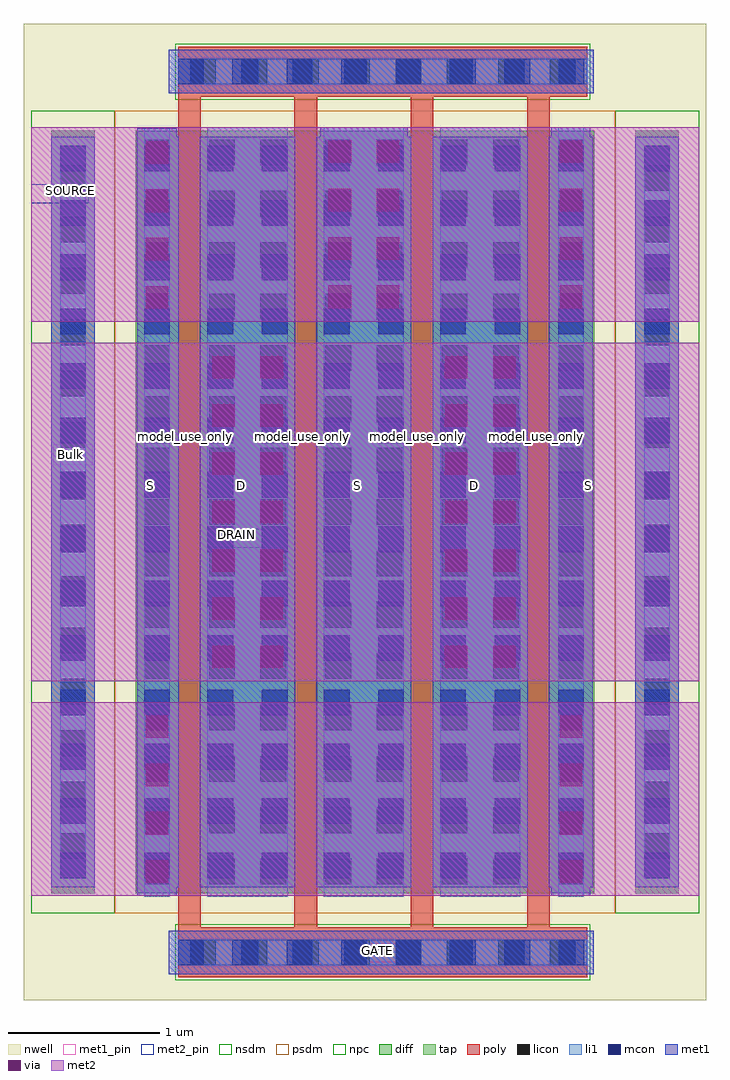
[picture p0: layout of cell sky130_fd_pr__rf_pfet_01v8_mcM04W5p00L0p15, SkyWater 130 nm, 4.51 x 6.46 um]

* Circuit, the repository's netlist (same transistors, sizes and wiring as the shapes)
* Copyright 2020 The SkyWater PDK Authors
*
* Licensed under the Apache License, Version 2.0 (the "License");
* you may not use this file except in compliance with the License.
* You may obtain a copy of the License at
*
*     https://www.apache.org/licenses/LICENSE-2.0
*
* Unless required by applicable law or agreed to in writing, software
* distributed under the License is distributed on an "AS IS" BASIS,
* WITHOUT WARRANTIES OR CONDITIONS OF ANY KIND, either express or implied.
* See the License for the specific language governing permissions and
* limitations under the License.
*
* SPDX-License-Identifier: Apache-2.0


.subckt sky130_fd_pr__rf_pfet_01v8_mcM04W5p00L0p15 DRAIN GATE SOURCE Bulk
X0 SOURCE GATE DRAIN w_n10_0# sky130_fd_pr__pfet_01v8 w=5.05e+06u l=150000u
X1 DRAIN GATE SOURCE w_n10_0# sky130_fd_pr__pfet_01v8 w=5.05e+06u l=150000u
X2 DRAIN GATE SOURCE w_n10_0# sky130_fd_pr__pfet_01v8 w=5.05e+06u l=150000u
X3 SOURCE GATE DRAIN w_n10_0# sky130_fd_pr__pfet_01v8 w=5.05e+06u l=150000u
.ends

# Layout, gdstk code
import gdstk
lib = gdstk.Library(unit=1e-6, precision=1e-09)
def R(c, l, rs):  # rectangles x0, y0, x1, y1
    for r in rs: c.add(gdstk.rectangle(r[:2], r[2:], *l))
def A(c, l, x, y, w, h, nx, ny, dx, dy):  # array of equal rectangles
    R(c, l, [(x+i*dx, y+j*dy, x+i*dx+w, y+j*dy+h) for i in range(nx) for j in range(ny)])
nwell = (64, 20)
diff = (65, 20)
tap = (65, 44)
poly = (66, 20)
licon = (66, 44)
li1 = (67, 20)
mcon = (67, 44)
met1_pin = (68, 16)
met1 = (68, 20)
via = (68, 44)
met2_pin = (69, 16)
met2 = (69, 20)
nsdm = (93, 44)
psdm = (94, 20)
npc = (95, 20)

sky130_fd_pr__rf_pfet_01 = lib.new_cell('sky130_fd_pr__rf_pfet_01v8_mcM04W5p00L0p15')
R(sky130_fd_pr__rf_pfet_01, nwell, [(-0.05,0,4.465,6.46)])
R(sky130_fd_pr__rf_pfet_01, diff, [(0.69,0.705,3.725,5.755)])
R(sky130_fd_pr__rf_pfet_01, tap, [(0.13,0.705,0.42,5.755), (3.995,0.705,4.285,5.755)])
A(sky130_fd_pr__rf_pfet_01, poly, 0.97, 0.48, 0.15, 5.5, 4, 1, 0.77, 0)
R(sky130_fd_pr__rf_pfet_01, poly, [(0.97,0.15,3.68,0.48), (0.97,5.98,3.68,6.31)])
A(sky130_fd_pr__rf_pfet_01, licon, 1.05, 0.23, 0.17, 0.17, 8, 2, 0.34, 5.83)
A(sky130_fd_pr__rf_pfet_01, licon, 0.745, 0.765, 0.17, 0.17, 1, 15, 0, 0.34)
A(sky130_fd_pr__rf_pfet_01, licon, 1.175, 0.765, 0.17, 0.17, 1, 15, 0, 0.34)
A(sky130_fd_pr__rf_pfet_01, licon, 1.515, 0.765, 0.17, 0.17, 1, 15, 0, 0.34)
A(sky130_fd_pr__rf_pfet_01, licon, 1.945, 0.765, 0.17, 0.17, 1, 15, 0, 0.34)
A(sky130_fd_pr__rf_pfet_01, licon, 2.285, 0.765, 0.17, 0.17, 1, 15, 0, 0.34)
A(sky130_fd_pr__rf_pfet_01, licon, 2.715, 0.765, 0.17, 0.17, 1, 15, 0, 0.34)
A(sky130_fd_pr__rf_pfet_01, licon, 3.055, 0.765, 0.17, 0.17, 1, 15, 0, 0.34)
A(sky130_fd_pr__rf_pfet_01, licon, 3.485, 0.765, 0.17, 0.17, 1, 15, 0, 0.34)
A(sky130_fd_pr__rf_pfet_01, licon, 0.19, 0.935, 0.17, 0.17, 1, 14, 0, 0.34)
A(sky130_fd_pr__rf_pfet_01, licon, 4.055, 0.935, 0.17, 0.17, 1, 14, 0, 0.34)
A(sky130_fd_pr__rf_pfet_01, li1, 1.165, 0.685, 0.53, 5.09, 3, 1, 0.77, 0)
R(sky130_fd_pr__rf_pfet_01, li1, [(0.97,0.23,3.68,0.4), (0.97,0.23,3.66,0.4), (0.745,0.685,0.915,5.775), (3.485,0.685,3.655,5.775), (0.19,0.805,0.36,5.655), (4.055,0.805,4.225,5.655), (0.19,0.855,0.36,5.605), (4.055,0.855,4.225,5.605), (0.19,1.875,0.36,4.585), (4.055,1.875,4.225,4.585), (0.97,6.06,3.68,6.23), (0.97,6.06,3.66,6.23)])
A(sky130_fd_pr__rf_pfet_01, mcon, 0.97, 0.23, 0.17, 0.17, 8, 2, 0.36, 5.83)
A(sky130_fd_pr__rf_pfet_01, mcon, 0.19, 0.805, 0.17, 0.17, 1, 14, 0, 0.36)
A(sky130_fd_pr__rf_pfet_01, mcon, 0.745, 0.805, 0.17, 0.17, 1, 14, 0, 0.36)
A(sky130_fd_pr__rf_pfet_01, mcon, 1.165, 0.805, 0.17, 0.17, 1, 14, 0, 0.36)
A(sky130_fd_pr__rf_pfet_01, mcon, 1.525, 0.805, 0.17, 0.17, 1, 14, 0, 0.36)
A(sky130_fd_pr__rf_pfet_01, mcon, 1.935, 0.805, 0.17, 0.17, 1, 14, 0, 0.36)
A(sky130_fd_pr__rf_pfet_01, mcon, 2.295, 0.805, 0.17, 0.17, 1, 14, 0, 0.36)
A(sky130_fd_pr__rf_pfet_01, mcon, 2.705, 0.805, 0.17, 0.17, 1, 14, 0, 0.36)
A(sky130_fd_pr__rf_pfet_01, mcon, 3.065, 0.805, 0.17, 0.17, 1, 14, 0, 0.36)
A(sky130_fd_pr__rf_pfet_01, mcon, 3.485, 0.805, 0.17, 0.17, 1, 14, 0, 0.36)
A(sky130_fd_pr__rf_pfet_01, mcon, 4.055, 0.805, 0.17, 0.17, 1, 14, 0, 0.36)
R(sky130_fd_pr__rf_pfet_01, met1_pin, [(2.07,0.25,2.5,0.375), (0.145,3.54,0.405,3.68)])
A(sky130_fd_pr__rf_pfet_01, met1, 1.115, 0.745, 0.63, 4.97, 3, 1, 0.77, 0)
R(sky130_fd_pr__rf_pfet_01, met1, [(0.91,0.17,3.72,0.46), (1.63,0.18,2.87,0.45), (0.7,0.69,0.96,1.97), (3.44,0.69,3.7,1.97), (0.13,0.745,0.42,5.715), (0.7,0.745,0.975,5.715), (3.425,0.745,3.715,5.715), (3.995,0.745,4.285,5.715), (1.14,2.11,1.72,4.35), (2.68,2.11,3.26,4.35), (0.7,4.49,0.96,5.77), (1.91,4.495,2.49,5.775), (3.44,4.495,3.7,5.775), (0.91,6,3.72,6.29)])
A(sky130_fd_pr__rf_pfet_01, via, 0.755, 0.775, 0.15, 0.15, 1, 4, 0, 0.32)
A(sky130_fd_pr__rf_pfet_01, via, 3.495, 0.775, 0.15, 0.15, 1, 4, 0, 0.32)
A(sky130_fd_pr__rf_pfet_01, via, 1.195, 2.195, 0.15, 0.15, 1, 7, 0, 0.32)
A(sky130_fd_pr__rf_pfet_01, via, 1.515, 2.195, 0.15, 0.15, 1, 7, 0, 0.32)
A(sky130_fd_pr__rf_pfet_01, via, 2.735, 2.195, 0.15, 0.15, 1, 7, 0, 0.32)
A(sky130_fd_pr__rf_pfet_01, via, 3.055, 2.195, 0.15, 0.15, 1, 7, 0, 0.32)
A(sky130_fd_pr__rf_pfet_01, via, 0.755, 4.575, 0.15, 0.15, 1, 4, 0, 0.32)
A(sky130_fd_pr__rf_pfet_01, via, 1.965, 4.58, 0.15, 0.15, 1, 4, 0, 0.32)
A(sky130_fd_pr__rf_pfet_01, via, 2.285, 4.58, 0.15, 0.15, 1, 4, 0, 0.32)
A(sky130_fd_pr__rf_pfet_01, via, 3.495, 4.58, 0.15, 0.15, 1, 4, 0, 0.32)
R(sky130_fd_pr__rf_pfet_01, met2_pin, [(1.165,2.995,1.545,3.12), (0,5.275,0.38,5.4)])
R(sky130_fd_pr__rf_pfet_01, met2, [(0,0.69,4.42,1.97), (0.7,0.69,0.96,1.97), (3.44,0.69,3.7,1.97), (0,2.11,4.42,4.35), (1.14,2.11,1.72,4.35), (2.68,2.11,3.26,4.35), (0,4.49,4.42,5.775), (0.7,4.49,0.96,5.77), (1.91,4.495,2.49,5.775), (3.44,4.495,3.7,5.775)])
R(sky130_fd_pr__rf_pfet_01, nsdm, [(0,0.575,0.55,5.885), (3.865,0.575,4.42,5.885)])
R(sky130_fd_pr__rf_pfet_01, psdm, [(0.55,0.575,3.865,5.885)])
R(sky130_fd_pr__rf_pfet_01, npc, [(0.95,0.13,3.7,0.5), (0.95,5.96,3.7,6.33)])
sky130_fd_pr__rf_pfet_01.add(gdstk.Label('model_use_only', (2.555,3.73), layer=66, texttype=83))
sky130_fd_pr__rf_pfet_01.add(gdstk.Label('model_use_only', (1.795,3.73), layer=66, texttype=83))
sky130_fd_pr__rf_pfet_01.add(gdstk.Label('model_use_only', (1.02,3.73), layer=66, texttype=83))
sky130_fd_pr__rf_pfet_01.add(gdstk.Label('model_use_only', (3.34,3.73), layer=66, texttype=83))
sky130_fd_pr__rf_pfet_01.add(gdstk.Label('D', (1.39,3.405), layer=83, texttype=44))
sky130_fd_pr__rf_pfet_01.add(gdstk.Label('S', (3.685,3.405), layer=83, texttype=44))
sky130_fd_pr__rf_pfet_01.add(gdstk.Label('S', (2.16,3.405), layer=83, texttype=44))
sky130_fd_pr__rf_pfet_01.add(gdstk.Label('S', (0.79,3.405), layer=83, texttype=44))
sky130_fd_pr__rf_pfet_01.add(gdstk.Label('D', (2.93,3.405), layer=83, texttype=44))
sky130_fd_pr__rf_pfet_01.add(gdstk.Label('GATE', (2.29,0.325), layer=68, texttype=16))
sky130_fd_pr__rf_pfet_01.add(gdstk.Label('DRAIN', (1.355,3.08), layer=69, texttype=16))
sky130_fd_pr__rf_pfet_01.add(gdstk.Label('SOURCE', (0.255,5.36), layer=69, texttype=16))
sky130_fd_pr__rf_pfet_01.add(gdstk.Label('Bulk', (0.26,3.61), layer=65, texttype=6))

lib.write_gds('sky130_fd_pr__rf_pfet_01v8_mcM04W5p00L0p15.gds')
